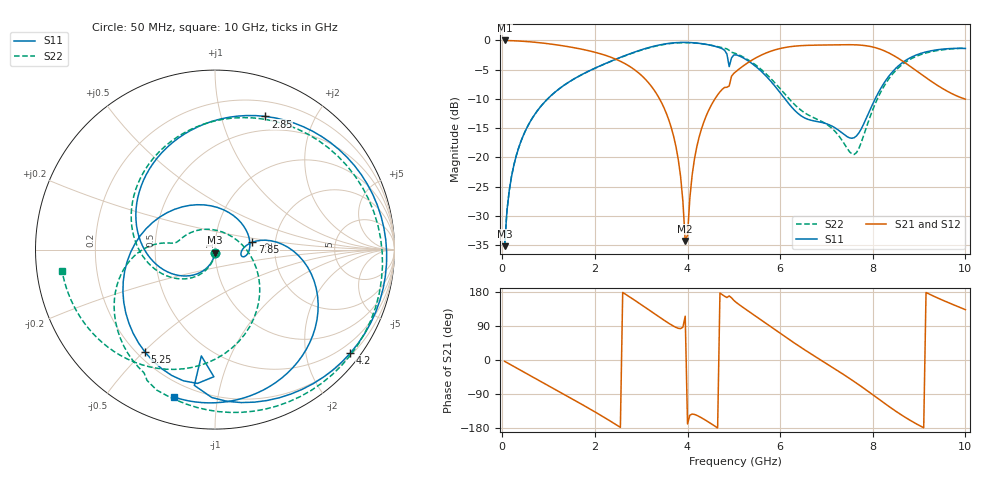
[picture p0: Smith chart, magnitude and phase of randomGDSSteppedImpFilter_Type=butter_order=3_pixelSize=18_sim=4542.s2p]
! freq	dB(S11)	phase(S11)	dB(S12)	phase(S12)
!  dB(S21)	phase(S21)	dB(S22)	phase(S22)
!S-par simulation data
#  GHz  S  DB  R 50
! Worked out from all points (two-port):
!   200 points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, 50 MHz to 10 GHz, reference 50 ohm
!   highest |S21| = -0.01 dB at 50 MHz (marker M1); lowest = -34.2 dB at 3.95 GHz (marker M2)
!   |S21| within 3 dB of the highest: start of sweep to 2.389 GHz; 5.47 GHz to 8.541 GHz (3.071 GHz wide, 43.8 % of centre)
!   lowest |S11| = -35.1 dB at 50 MHz (marker M3), VSWR 1.04, Z = 49.9 - j1.74 ohm
!   |S11| at or under -10 dB: start of sweep to 977.9 MHz; 6.105 GHz to 8.051 GHz (1.946 GHz wide, 27.5 % of centre)
!   |S22| runs from -35.1 to -0.4 dB; largest |S21 - S12| = 0
!   S11 on the Smith chart (normalised r, x): 50 MHz: 1.00, -0.03; 2.85 GHz: 0.35, +1.39; 4.2 GHz: 0.25, -2.94; 5.25 GHz: 0.23, -0.51; 7.85 GHz: 1.52, +0.13; 10 GHz: 0.12, -0.75
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0.05  -35.14 -93.3  -0.01 -3.5  -0.01 -3.5  -35.15 -92.9
0.2  -23.21 -104.7  -0.04 -13.8  -0.04 -13.8  -23.20 -103.0
0.5  -15.43 -126.6  -0.18 -34.2  -0.18 -34.2  -15.42 -122.7
1.1  -9.09 -169.2  -0.68 -74.8  -0.68 -74.8  -9.09 -161.8
1.75  -5.70 146.0  -1.56 -119.3  -1.56 -119.3  -5.71 153.8
2.3  -3.70 108.4  -2.74 -158.8  -2.74 -158.8  -3.73 112.1
2.85  -2.01 69.3  -4.97 158.4  -4.97 158.4  -2.06 64.9
3.4  -0.76 27.2  -10.05 112.6  -10.05 112.6  -0.82 13.3
3.8  -0.36 -4.9  -20.33 83.6  -20.33 83.6  -0.41 -24.4
3.95  -0.34 -17.0  -34.24 115.5  -34.24 115.5  -0.38 -38.1
4.2  -0.45 -37.3  -18.17 -146.0  -18.17 -146.0  -0.48 -60.0
4.6  -1.02 -71.0  -9.89 -175.3  -9.89 -175.3  -0.97 -92.7
5.05  -2.48 -103.5  -5.28 152.0  -5.28 152.0  -2.28 -126.5
5.25  -3.20 -124.2  -4.09 134.4  -4.09 134.4  -3.04 -140.4
5.95  -8.43 156.4  -1.48 74.7  -1.48 74.7  -7.81 -179.7
6.7  -13.70 39.0  -0.82 13.5  -0.82 13.5  -13.11 169.7
7.25  -15.28 -12.4  -0.74 -28.9  -0.74 -28.9  -16.14 139.5
7.6  -16.61 -3.7  -0.75 -57.0  -0.75 -57.0  -19.48 67.6
7.85  -13.48 11.2  -0.90 -78.4  -0.90 -78.4  -15.15 -0.0
8.35  -6.08 -7.4  -2.15 -122.7  -2.15 -122.7  -6.53 -65.8
9  -2.31 -50.7  -5.52 -172.5  -5.52 -172.5  -2.53 -119.1
10  -1.38 -105.4  -10.03 132.9  -10.03 132.9  -1.31 -172.2
